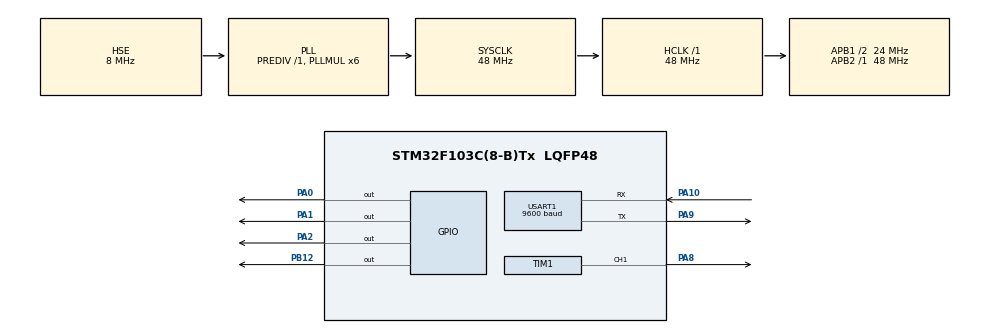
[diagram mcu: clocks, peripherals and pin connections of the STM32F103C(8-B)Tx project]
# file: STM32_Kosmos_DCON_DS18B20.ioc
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Mcu.Family=STM32F1
Mcu.Name=STM32F103C(8-B)Tx
Mcu.Package=LQFP48
NVIC.PriorityGroup=NVIC_PRIORITYGROUP_4
NVIC.TIM4_IRQn=true\:0\:0\:false\:false\:true\:true\:true
NVIC.USART1_IRQn=true\:0\:0\:false\:false\:true\:true\:true
PA0-WKUP.GPIO_PuPd=GPIO_PULLUP
PA0-WKUP.GPIO_Speed=GPIO_SPEED_FREQ_HIGH
PA0-WKUP.PinState=GPIO_PIN_RESET
PA0-WKUP.Signal=GPIO_Output
PA1.GPIO_PuPd=GPIO_PULLUP
PA1.GPIO_Speed=GPIO_SPEED_FREQ_HIGH
PA1.PinState=GPIO_PIN_RESET
PA1.Signal=GPIO_Output
PA10.Mode=Asynchronous
PA10.Signal=USART1_RX
PA13.Mode=Serial_Wire
PA13.Signal=SYS_JTMS-SWDIO
PA14.Mode=Serial_Wire
PA14.Signal=SYS_JTCK-SWCLK
PA2.GPIO_PuPd=GPIO_PULLUP
PA2.GPIO_Speed=GPIO_SPEED_FREQ_HIGH
PA2.PinState=GPIO_PIN_RESET
PA2.Signal=GPIO_Output
PA8.Signal=S_TIM1_CH1
PA9.Mode=Asynchronous
PA9.Signal=USART1_TX
PB12.Signal=GPIO_Output
PD0-OSC_IN.Mode=HSE-External-Oscillator
PD0-OSC_IN.Signal=RCC_OSC_IN
PD1-OSC_OUT.Mode=HSE-External-Oscillator
PD1-OSC_OUT.Signal=RCC_OSC_OUT
ProjectManager.HeapSize=0x200
ProjectManager.StackSize=0x400
ProjectManager.TargetToolchain=STM32CubeIDE
RCC.AHBFreq_Value=48000000
RCC.APB1CLKDivider=RCC_HCLK_DIV2
RCC.APB1Freq_Value=24000000
RCC.APB1TimFreq_Value=48000000
RCC.APB2Freq_Value=48000000
RCC.APB2TimFreq_Value=48000000
RCC.HCLKFreq_Value=48000000
RCC.PLLMUL=RCC_PLL_MUL6
RCC.PLLSourceVirtual=RCC_PLLSOURCE_HSE
RCC.SYSCLKFreq_VALUE=48000000
RCC.SYSCLKSource=RCC_SYSCLKSOURCE_PLLCLK
RCC.USBFreq_Value=48000000
SH.S_TIM1_CH1.0=TIM1_CH1,PWM Generation1 CH1
TIM1.Channel-PWM\ Generation1\ CH1=TIM_CHANNEL_1
TIM1.Period=60000
TIM1.Pulse-PWM\ Generation1\ CH1=30000
TIM4.Period=7600
TIM4.Prescaler=4799
USART1.BaudRate=9600
USART1.VirtualMode=VM_ASYNC
VP_TIM4_VS_ClockSourceINT.Mode=Internal
board=custom

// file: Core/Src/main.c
/* USER CODE BEGIN Header */
/**
  ******************************************************************************
  * @file           : main.c
  * @brief          : Main program body
  ******************************************************************************
  * @attention
  *
  * <h2><center>&copy; Copyright (c) 2019 STMicroelectronics.
  * All rights reserved.</center></h2>
  *
  * This software component is licensed by ST under BSD 3-Clause license,
  * the "License"; You may not use this file except in compliance with the
  * License. You may obtain a copy of the License at:
  *                        opensource.org/licenses/BSD-3-Clause
  *
  ******************************************************************************
  */
/* USER CODE END Header */

#include "main.h"
#include "tim.h"
#include "usart.h"
#include "gpio.h"

/* USER CODE BEGIN Includes */
#include "dcon.h"
#include "addr_pages.h"
#include "ds18b20.h"
//#include "string.h"
/* USER CODE END Includes */

/* USER CODE BEGIN PTD */
typedef struct
{
	uint32_t	dwFirstRun;
	uint16_t	address;
	float	fltCa1;
	float	fltCa2;
	float	fltCa3;
	float	fltTempSet;
	float	fltTempDiff;
	uint16_t wCrc;
}tpParams;

/* USER CODE END PTD */

/* USER CODE BEGIN PD */
#define PAR_ADDR ADDR_FLASH_PAGE_63
#define	PARAMS_WORDS sizeof(params)/4
#define COUNT_ADC_MAX	128
/* USER CODE END PD */

/* USER CODE BEGIN PV */
uint16_t Address_Device=1;																				//Адресс устройства
uint8_t buf[DCON_RX_BUFFER_SIZE] = {0,};
unsigned char error;																						//Общий флаг ошибки
uint8_t char4[4];																							//Массив для преобразования числа в строку
int16_t OutTemperature[3] = {0,};																					//Массив температур для передачи по DCON
uint8_t flag=1;
float prev_t;
float prev_t1;
float prev_t2;
float filter=2;

 tpParams	params;
/* USER CODE END PV */

void SystemClock_Config(void);
/* USER CODE BEGIN PFP */
void FLASH_ReadSettings(void);
void FLASH_WriteSettings(void);
void Poll_DCON(void);
uint8_t char2_to_hex(uint8_t s1, uint8_t s2);
void hex_to_char2(uint8_t s1);
int8_t char4_to_dec(uint8_t s1, uint8_t s2, uint8_t s3, uint8_t s4);
void dec_to_char4(int16_t s1);
void Preparation_Response(uint8_t er);
/* USER CODE END PFP */

/* USER CODE BEGIN 0 */
void HAL_TIM_PeriodElapsedCallback(TIM_HandleTypeDef *htim)
{
	if(htim == &htim4)
	{
		HAL_TIM_Base_Stop_IT(htim);
		flag = 2;
	}
}
////////////чтение настроек из флеша/////////////////
void FLASH_ReadSettings(void) {
    //Read settings
    uint32_t *source_addr = (uint32_t *)PAR_ADDR;
    uint32_t *dest_addr = (void *)&params;
    for (uint16_t i=0; i<PARAMS_WORDS; i++) {
        *dest_addr = *(uint32_t*)source_addr;
        source_addr++;
        dest_addr++;
    }
}
////////////////////функция записи параметров во флеш/////////////
void FLASH_WriteSettings(void)
{
	static FLASH_EraseInitTypeDef EraseInitStruct; // структура для очистки флеша

	  EraseInitStruct.TypeErase = FLASH_TYPEERASE_PAGES; // постраничная очистка, FLASH_TYPEERASE_MASSERASE - очистка всего флеша
	  EraseInitStruct.PageAddress = PAR_ADDR; // адрес 63-й страницы
	  EraseInitStruct.NbPages = 1;                       // кол-во страниц для стирания
	  //EraseInitStruct.Banks = FLASH_BANK_1; // FLASH_BANK_2 - банк №2, FLASH_BANK_BOTH - оба банка

	  uint32_t page_error = 0; // переменная, в которую запишется адрес страницы при неудачном стирании

	  //char tmp_str[64] = {0,};

	  ////////////////////////////// ОЧ�?СТКА ///////////////////////////////////
	  HAL_FLASH_Unlock(); // разблокировать флеш

	  if(HAL_FLASHEx_Erase(&EraseInitStruct, &page_error) != HAL_OK)
	  {
	         // uint32_t er = HAL_FLASH_GetError();
	          //snprintf(tmp_str, 64, "ER %lu\n", er);
	         // HAL_UART_Transmit(&huart1, (uint8_t*)tmp_str, strlen(tmp_str), 100);
	          while(1){}
	  }

	  //HAL_UART_Transmit(DEBUG, (uint8_t*)"Erase OK\n", 9, 100);

	  HAL_FLASH_Lock(); // заблокировать флеш
	  ///////////////запись////////////////////////
	  HAL_FLASH_Unlock(); // разблокировать флеш

	    //uint32_t address = PAR_ADDR; // запись в начало страницы 63
	    //uint16_t idata[] = {0x1941, 0x1945};    // массив из двух чисел для записи
	    uint32_t *source_addr = (void *)&params;
	    uint32_t dest_addr =  PAR_ADDR;
	    for(uint8_t i = 0; i < PARAMS_WORDS; i++)
	    {
	            if(HAL_FLASH_Program(FLASH_TYPEPROGRAM_WORD, dest_addr, *source_addr) != HAL_OK)
	            {
	                   // uint32_t er = HAL_FLASH_GetError();
	                    //snprintf(tmp_str, 64, "ER %lu\n", er);
	                    //HAL_UART_Transmit(DEBUG, (uint8_t*)tmp_str, strlen(tmp_str), 100);
	                    while(1){}
	            }

	            source_addr++;
	            dest_addr+=4;;
	    }

	    //HAL_UART_Transmit(DEBUG, (uint8_t*)"Write Params OK\n", strlen("Write Params OK\n"), 100);

	    HAL_FLASH_Lock(); // заблокировать флеш
}
//=================== Функция перевода шеснадцатеричного двухсимвольного числа в двоичное ==================
uint8_t char2_to_hex(uint8_t s1, uint8_t s2)
{
	if ((s1>=0x30) && (s1<=0x39)) s1=s1-0x30;																//Если первый символ цифра (0-9)
	else
	if ((s1>=0x41) && (s1<=0x46)) s1=s1-0x37;																//Если первый символ буква (A-F)
	else error=1;																							//�?наче синтаксическая ошибка

	if ((s2>=0x30) && (s2<=0x39)) s2=s2-0x30;																//Если второй символ цифра (0-9)
	else
	if ((s2>=0x41) && (s2<=0x46)) s2=s2-0x37;																//Если второй символ буква (A-F)
	else error=1;																							//�?наче синтаксическая ошибка

	return (s1<<4)+s2;																						//Склеивание старшей и младшей частей
}

//=================== Функция перевода двоичного числа в двухсильвольное шеснадцатеричное ==================
void hex_to_char2(uint8_t s1)
{
	char temp;																								//Вспомогательная переменная

	temp=s1>>4;
	if (temp<=9) char4[0]=temp+0x30;																		//Если первый символ цифра (0-9)
	else char4[0]=temp+0x37;																				//Если первый символ буква (A-F)
	temp=s1 & 0x0F;
	if (temp<=9) char4[1]=temp+0x30;																		//Если второй символ цифра (0-9)
	else char4[1]=temp+0x37;																				//Если второй символ буква (A-F)
}

//----------------------------------------------------------------------------------------------------------//
//==================== Функция перевода десятичного четырехсимвольного числа в двоичное ====================//
//----------------------------------------------------------------------------------------------------------//
int8_t char4_to_dec(uint8_t s1, uint8_t s2, uint8_t s3, uint8_t s4)
{
	if ((s1>=0x30)&&(s1<=0x39)) s1=s1-0x30;																	//Если 1 символ цифра (0-9)
	else error=1;																							//�?наче синтаксическая ошибка

	if ((s2>=0x30)&&(s2<=0x39)) s2=s2-0x30;																	//Если 2 символ цифра (0-9)
	else error=1;																							//�?наче синтаксическая ошибка

	if ((s3>=0x30)&&(s3<=0x39)) s3=s3-0x30;																	//Если 3 символ цифра (0-9)
	else error=1;																							//�?наче синтаксическая ошибка

	if ((s4>=0x30)&&(s4<=0x39)) s4=s4-0x30;																	//Если 4 символ цифра (0-9)
	else error=1;																							//�?наче синтаксическая ошибка

	return s1*1000+s2*100+s3*10+s4;																			//Склеивание всех частей
}

//==================== Функция перевода двоичного числа в четырехсильвольное десятичное ====================
void dec_to_char4(int16_t s1)
{
	char temp;																								//Вспомогательная переменная

	temp=s1 % 10;
	s1/=10;
	char4[3]=temp+0x30;																						//4 символ

	temp=s1 % 10;
	s1/=10;
	char4[2]=temp+0x30;																						//3 символ

	temp=s1 % 10;
	s1/=10;
	char4[1]=temp+0x30;																						//2 символ
	char4[0]=s1+0x30;																						//1 символ
}

//================================= Функция подготовки ответного сообщения =================================
void Preparation_Response(uint8_t er)
{
	hex_to_char2(Address_Device>>8);																		//Преобразование адреса к символьному виду (старшая часть)
	buf[1]=char4[0];
	buf[2]=char4[1];
	hex_to_char2(Address_Device & 0x00FF);																	//Преобразование адреса к символьному виду (младшая часть)
	buf[3]=char4[0];
	buf[4]=char4[1];

	if (er==0) buf[0]='!';																					//Если команда принята
	else buf[0]='?';																						//Если команда с ошибкой

	buf[5]=0;																								//Признак конца строки (в стандарте ANSI)
}
void Poll_DCON(void)
{
	int16_t int_temp;																							//Вспомогательные переменные
	int16_t int_temp2;																							//Вспомогательные переменные
	uint8_t hex1;																							//Переменные используемые при декодировании команд
	uint8_t length;																						//Длина принятой команды

	if (Read_DCON(buf)==0x01)																		//Если есть не прочитанные данные, протокол совпадает и нет ошибки контрольной суммы (см. описание библиотек)
  	{
		length=buf[0];																						//Определение длинны принятой команды

		if (buf[1]=='^' && buf[2]=='R' && buf[3]=='E' && buf[4]=='S' && buf[5]=='E' && buf[6]=='T')			//Если пришла команда ^RESET
		{
			//if (((PINB & (1<<PB4))==0) && (Address_Device==0x0000))											//Если модуль был запущен в режиме "Init"
			//{																								//Запись в EEPROM заводских настроек

			params.dwFirstRun=0x0001;
			params.address=1;
			params.fltCa1=0;
			params.fltCa2=0;
			params.fltCa3=0;
			params.fltTempSet=24.0;
			params.fltTempDiff=2.0;
			void *p =&params;
			params.wCrc=0;
			for (char i=0; i< (PARAMS_WORDS*4 - 2);i++ )
			{
				params.wCrc += *(((char*)p)+i);
			}
			FLASH_WriteSettings();
			Address_Device=params.address;
			HAL_GPIO_WritePin(GPIOB, GPIO_PIN_12, GPIO_PIN_SET);														//Переключаем RS-485 на передачу
			Write_DCON((uint8_t*)"!RESET_OK", &huart1);																	//Отправить ответ в COM порт
			HAL_GPIO_WritePin(GPIOB, GPIO_PIN_12, GPIO_PIN_RESET);														//Переключаем RS-485 на прием
			//}
		}
		else
		{
			int_temp=(char2_to_hex(buf[3],buf[4])<<8)+char2_to_hex(buf[5],buf[6]);							//Декодирование полученного адреса
			if (int_temp!=Address_Device) return;															//Если адрес устройства не совпадает, досрочный выход без ответа (т.к. обращение происходит к другому устройству)

			if (buf[1]!='^')																				//Если не верный символ идентификации команды
			{
				Preparation_Response(1);																	//Подготовка ответа (команда не распознана)
			}
			else
			{
				switch(buf[2])
				{
				case 'R':
				case 'T':
				//-------------------- Команда чтения температуры с датчиков модуля (^RAAAA/r или ^TAAAA/r) --------------------
					if (length!=7)																			//Проверка длины команды
					{
						Preparation_Response(1);															//Подготовка ответа (команда не распознана)
						break;
					}

					Preparation_Response(0);																//Подготовка ответа (команда принята)

					int_temp2=OutTemperature[0];																//Чтение значение температуры первого датчика из массива
					hex1=0;
					if (int_temp2<0)																		//Определение знака
					{
						buf[5]='-';
						int_temp=0-int_temp2;
						hex1=1;
					}
					else int_temp=int_temp2;

					dec_to_char4(int_temp);																	//Преобразование температуры к символьному виду

					if (hex1==0) buf[5]=char4[0];
					buf[6]=char4[1];
					buf[7]=char4[2];
					buf[8]=char4[3];

					int_temp2=OutTemperature[1];															//Чтение значение температуры второго датчика из массива
					hex1=0;
					if (int_temp2<0)																		//Определение знака
					{
						buf[9]='-';
						int_temp=0-int_temp2;
						hex1=1;
					}
					else int_temp=int_temp2;
					dec_to_char4(int_temp);															//Преобразование температуры второго датчика к символьному виду
					if (hex1==0) buf[9]=char4[0];
					buf[10]=char4[1];
					buf[11]=char4[2];
					buf[12]=char4[3];

					int_temp2=OutTemperature[2];															//Чтение значение температуры третьего датчика из массива
					hex1=0;
					if (int_temp2<0)																		//Определение знака
					{
						buf[13]='-';
						int_temp=0-int_temp2;
						hex1=1;
					}
					else int_temp=int_temp2;

					dec_to_char4(int_temp);																	//Преобразование температуры к символьному виду
					if (hex1==0) buf[13]=char4[0];
					buf[14]=char4[1];
					buf[15]=char4[2];
					buf[16]=char4[3];

					buf[17]=0;																			//Конец сообщения
					break;
				case 'S':
				//-------------------------- Команда смены адреса модуля (^SAAAANNNN/r) ---------------------------
					error=0;
					int_temp=(char2_to_hex(buf[7],buf[8])<<8)+char2_to_hex(buf[9],buf[10]);					//Чтение нового адреса
					if ((length!=11) || (error==1) || (int_temp==0))										//Проверка корректности команды
					{
						Preparation_Response(1);															//Подготовка ответа (команда не распознана)
						break;
					}
					Address_Device=int_temp;

					params.address=Address_Device;
					FLASH_WriteSettings();
					Preparation_Response(0);																//Подготовка ответа (команда принята)
					break;
				case 'P':
				//----------------------------- Команда установки степени открытия жалюзей (^PAAAACC/r) ------------------------------
					error=0;
					hex1=char2_to_hex(buf[7],buf[8]);
					if ((error) || (length!=9) || (hex1<0) || (hex1>0x64))									//Проверка корректности команды
					{
						Preparation_Response(1);															//Подготовка ответа (команда не распознана)
						break;
					}

					TIM1->CCR1 = (uint32_t)600 * (uint32_t)hex1;													//Запись положения открытия жалюзей в процентах
					Preparation_Response(0);																//Подготовка ответа (команда принята)
					break;
				default: Preparation_Response(1);															//Подготовка ответа (команда не распознана)
				}
			}
			HAL_GPIO_WritePin(GPIOB, GPIO_PIN_12, GPIO_PIN_SET);														//Переключаем RS-485 на передачу
			Write_DCON(buf, &huart1);																				//Отправка ответа на команду
			HAL_GPIO_WritePin(GPIOB, GPIO_PIN_12, GPIO_PIN_RESET);														//Переключаем RS-485 на прием
		}
  	}
}

/* USER CODE END 0 */

int main(void)
{

  /* MCU Configuration--------------------------------------------------------*/

  /* Reset of all peripherals, Initializes the Flash interface and the Systick. */
  HAL_Init();

  /* Configure the system clock */
  SystemClock_Config();

  /* Initialize all configured peripherals */
  MX_GPIO_Init();
  MX_TIM1_Init();
  MX_TIM4_Init();
  MX_USART1_UART_Init();
  /* USER CODE BEGIN 2 */
  __HAL_UART_ENABLE_IT(&huart1, UART_IT_RXNE);
  HAL_TIM_PWM_Start_IT(&htim1, TIM_CHANNEL_1);

  FLASH_ReadSettings();
   if (params.dwFirstRun==0xFFFFFFFF)
   {
 	  params.dwFirstRun=0x0001;
 	  params.address=1;
 	  params.fltCa1=0;
 	  params.fltCa2=0;
 	  params.fltCa3=0;
 	  params.fltTempSet=24.0;
 	  params.fltTempDiff=2.0;
 	  void *p =&params;
 	  params.wCrc=0;
 	  for (char i=0; i< (PARAMS_WORDS*4 - 2);i++ )
 	  {
 		  params.wCrc += *(((char*)p)+i);
 	  }
 	  FLASH_WriteSettings();
   }
 	  Address_Device=params.address;

 	  DWT_Init();
 	  Init_ds18b20_0(DS18B20_Resolution_12_bit);											// �?нициализируем первый датчик
 	  Init_ds18b20_1(DS18B20_Resolution_12_bit);											// �?нициализируем второй датчик
 	  Init_ds18b20_2(DS18B20_Resolution_12_bit);											// �?нициализируем третий датчик
 	  //Для инициализации переменных с префиксом prev_ инициализируем изменерения и запрашиваем у датчиков температуру
 	  //Переменные с префиксом prev_ необходимы для реализации простого фильтра:
 	  //Если текущее значение температуры больше или меньше на значение в переменной filter(случайная помеха)
 	  //то используем значение предыдущего измерения
 	  ds18b20_mesureTemperature_0();
 	  ds18b20_mesureTemperature_1();
 	  ds18b20_mesureTemperature_2();
 	  delay_us(760000);													// Здержка необходимая датчикам для измерения температуры
 	  prev_t = ds18b20_getTemperature_0()/16.0;
 	  prev_t1 = ds18b20_getTemperature_0()/16.0;
 	  prev_t2 = ds18b20_getTemperature_0()/16.0;
  /* USER CODE END 2 */

  /* Infinite loop */
  /* USER CODE BEGIN WHILE */
  while (1)
  {
	  Poll_DCON();
	  if(flag == 1)
	  {
		  flag = 0;
		  ds18b20_mesureTemperature_0();
		  ds18b20_mesureTemperature_1();
		  ds18b20_mesureTemperature_2();
		  __HAL_TIM_SET_AUTORELOAD(&htim4, DELAY_T_CONVERT);
		  HAL_TIM_Base_Start_IT(&htim4); // запускаем таймер
	  }
	  else if(flag == 2) // когда таймер отсчитает 750мс, он установит flag == 2
	  {
		  flag=0;
		  int16_t temp = ds18b20_getTemperature_0();
		  int16_t temp1 = ds18b20_getTemperature_1();
		  int16_t temp2 = ds18b20_getTemperature_2();
	  	  float t = temp / 16.0;
	  	  float t1 = temp1 / 16.0;
	  	  float t2 = temp2 / 16.0;
	  	  if( (prev_t - t) > filter || (t - prev_t) > filter  ) t = prev_t; else prev_t = t;
	  	  if( (prev_t1 - t1) > filter || (t1 - prev_t1) > filter  ) t1 = prev_t1; else prev_t1 = t1;
	  	  if( (prev_t2 - t2) > filter || (t2 - prev_t2) > filter  ) t2 = prev_t2; else prev_t2 = t2;
	  	  OutTemperature[0]= t*10;
	  	  OutTemperature[1]= t1*10;
	  	  OutTemperature[2]= t2*10;
	  	  flag = 1; // запускаем новое измерение.
	  }

	  Poll_DCON();

	  HAL_Delay(100);

    /* USER CODE END WHILE */

  }
}

void SystemClock_Config(void)
{
  RCC_OscInitTypeDef RCC_OscInitStruct = {0};
  RCC_ClkInitTypeDef RCC_ClkInitStruct = {0};

  /** Initializes the CPU, AHB and APB busses clocks
  */
  RCC_OscInitStruct.OscillatorType = RCC_OSCILLATORTYPE_HSE;
  RCC_OscInitStruct.HSEState = RCC_HSE_ON;
  RCC_OscInitStruct.HSEPredivValue = RCC_HSE_PREDIV_DIV1;
  RCC_OscInitStruct.HSIState = RCC_HSI_ON;
  RCC_OscInitStruct.PLL.PLLState = RCC_PLL_ON;
  RCC_OscInitStruct.PLL.PLLSource = RCC_PLLSOURCE_HSE;
  RCC_OscInitStruct.PLL.PLLMUL = RCC_PLL_MUL6;
  if (HAL_RCC_OscConfig(&RCC_OscInitStruct) != HAL_OK)
  {
    Error_Handler();
  }
  /** Initializes the CPU, AHB and APB busses clocks
  */
  RCC_ClkInitStruct.ClockType = RCC_CLOCKTYPE_HCLK|RCC_CLOCKTYPE_SYSCLK
                              |RCC_CLOCKTYPE_PCLK1|RCC_CLOCKTYPE_PCLK2;
  RCC_ClkInitStruct.SYSCLKSource = RCC_SYSCLKSOURCE_PLLCLK;
  RCC_ClkInitStruct.AHBCLKDivider = RCC_SYSCLK_DIV1;
  RCC_ClkInitStruct.APB1CLKDivider = RCC_HCLK_DIV2;
  RCC_ClkInitStruct.APB2CLKDivider = RCC_HCLK_DIV1;

  if (HAL_RCC_ClockConfig(&RCC_ClkInitStruct, FLASH_LATENCY_1) != HAL_OK)
  {
    Error_Handler();
  }
}

void Error_Handler(void)
{
}

/************************ (C) COPYRIGHT STMicroelectronics *****END OF FILE****/
